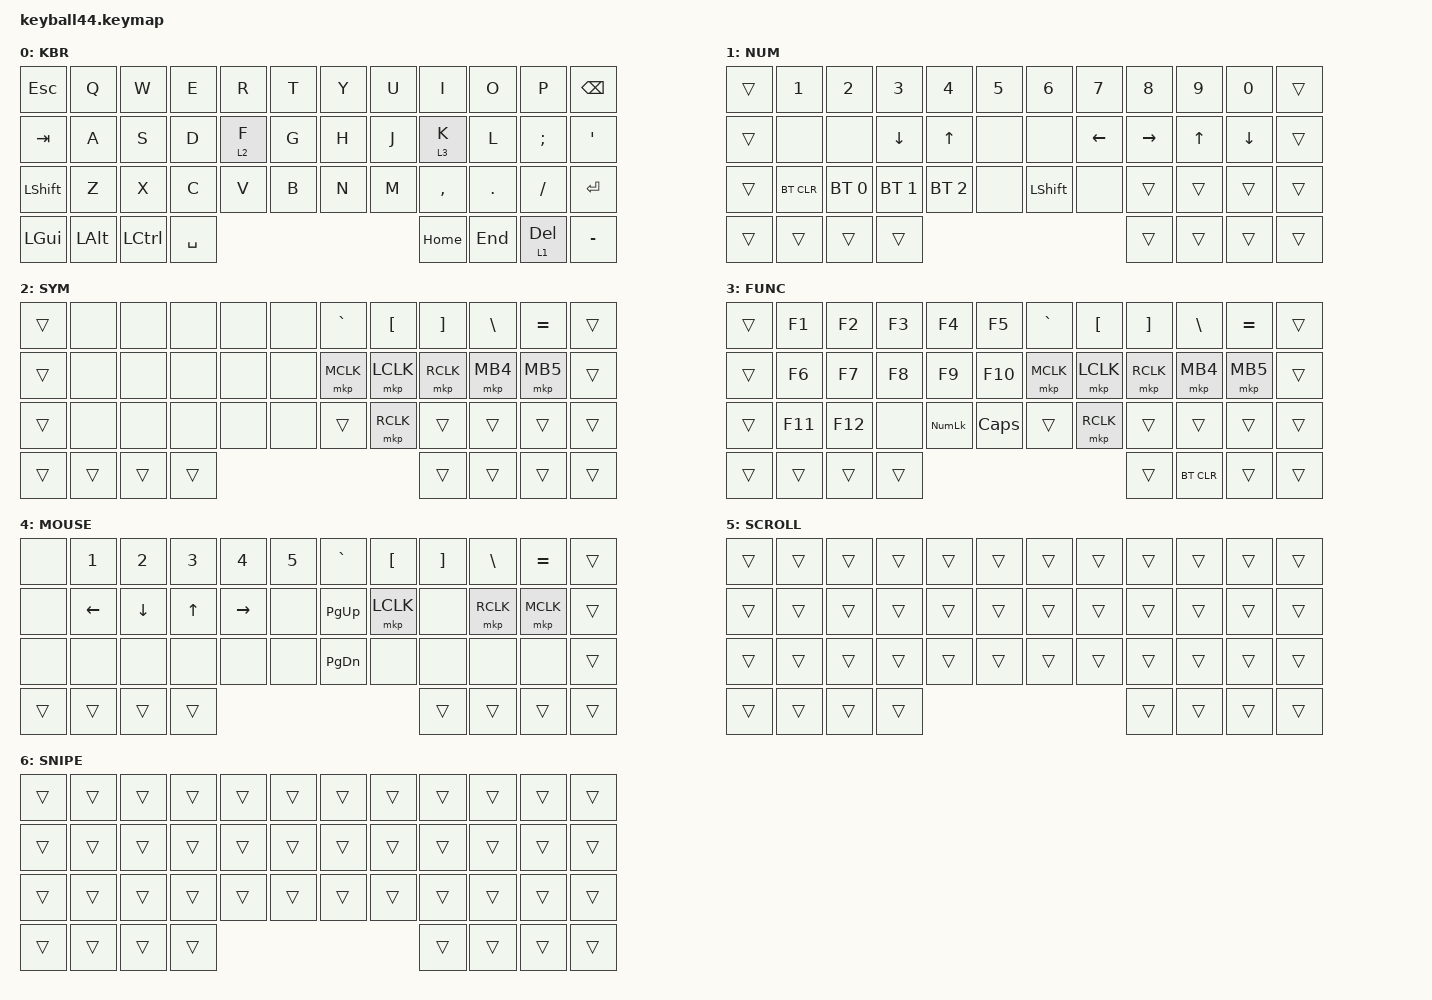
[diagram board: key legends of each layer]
#define DEFAULT 0
#define NUM     1
#define SYM     2
#define FUN     3
#define MOUSE   4
#define SCROLL  5
#define SNIPE   6

#include <behaviors/mouse_keys.dtsi>
#include <behaviors.dtsi>
#include <dt-bindings/zmk/bt.h>
#include <dt-bindings/zmk/keys.h>
#include <dt-bindings/zmk/mouse.h>


&lt {
    tapping-term-ms = <150>;
    flavor = "balanced";
    quick-tap-ms = <150>;
};

&mt {
    tapping-term-ms = <170>;
    flavor = "tap-preferred";
    quick-tap-ms = <150>;
};

&caps_word { continue-list = <UNDERSCORE MINUS>; };

/ {
    // custom shift using mod-morph

    behaviors {
        cmqus: comma_question {
            compatible = "zmk,behavior-mod-morph";
            label = "COMMA_QUESTION";
            #binding-cells = <0>;
            bindings = <&kp COMMA>, <&kp QUESTION>;

            mods = <(MOD_LSFT|MOD_RSFT)>;
        };

        dtsmi: dot_semi {
            compatible = "zmk,behavior-mod-morph";
            label = "DOT_SEMI";
            #binding-cells = <0>;
            bindings = <&kp DOT>, <&kp SEMI>;

            mods = <(MOD_LSFT|MOD_RSFT)>;
        };
    };

    combos {
        compatible = "zmk,combos";
        combo_soft_off {
            timeout-ms = <50>;
            key-positions = <40 41>;
            bindings = <&soft_off>;
        };
    };

    keymap {
        compatible = "zmk,keymap";

        default_layer {
            label = "KBR";
            bindings = <
&kp ESCAPE      &kp Q     &kp W         &kp E        &kp R      &kp T                 &kp Y            &kp U  &kp I      &kp O    &kp P      &kp BACKSPACE
&kp TAB         &kp A     &kp S         &kp D        &lt 2 F    &kp G                 &kp H            &kp J  &lt 3 K    &kp L    &kp SEMI   &kp SQT
&kp LEFT_SHIFT  &kp Z     &kp X         &kp C        &kp V      &kp B                 &kp N            &kp M  &kp COMMA  &kp DOT  &kp SLASH  &kp ENTER
&kp LGUI        &kp LALT  &kp LCTRL    &kp SPACE    &kp HOME                         &kp END          &lt 1 DELETE                          &kp MINUS
            >;
        };

        number_layer {
            label = "NUM";
            bindings = <
&trans   &kp NUMBER_1  &kp NUMBER_2  &kp NUMBER_3  &kp NUMBER_4  &kp NUMBER_5              &kp NUMBER_6  &kp NUMBER_7  &kp NUMBER_8  &kp NUMBER_9  &kp NUMBER_0  &trans
&trans   &none         &none         &kp DOWN      &kp UP        &none                     &none         &kp LEFT      &kp RIGHT     &kp UP        &kp DOWN      &trans
&trans   &bt BT_CLR    &bt BT_SEL 0  &bt BT_SEL 1  &bt BT_SEL 2  &none                     &kp LEFT_SHIFT  &none       &trans        &trans        &trans        &trans
&trans   &trans        &trans        &trans        &trans                          &trans  &trans                                                                &trans
            >;
        };

        symbol_layer {
            label = "SYM";
            bindings = <
&trans   &none        &none        &none        &none           &none              &kp GRAVE  &kp LBKT   &kp RBKT   &kp BSLH  &kp EQUAL &trans
&trans   &none        &none        &none        &none           &none              &mkp MCLK  &mkp LCLK  &mkp RCLK  &mkp MB4  &mkp MB5     &trans
&trans   &none        &none        &none        &none           &none              &trans     &mkp RCLK  &trans     &trans    &trans    &trans
&trans   &trans       &trans       &trans       &trans                             &trans     &trans                                    &trans
            >;
        };

        function_layer {
            label = "FUNC";
            bindings = <
&trans   &kp F1  &kp F2   &kp F3   &kp F4   &kp F5             &kp GRAVE  &kp LBKT   &kp RBKT   &kp BSLH  &kp EQUAL &trans
&trans   &kp F6  &kp F7   &kp F8   &kp F9   &kp F10            &mkp MCLK  &mkp LCLK  &mkp RCLK  &mkp MB4  &mkp MB5  &trans
&trans   &kp F11 &kp F12  &none    &kp KP_NUM &kp CAPS              &trans     &mkp RCLK  &trans     &trans    &trans    &trans
&trans   &trans  &trans   &trans   &trans              &bt BT_CLR &trans                                               &trans
            >;
        };

        mouse_layer {
            label = "MOUSE";
            bindings = <
&none   &kp N1          &kp N2          &kp N3        &kp N4     &kp N5              &kp GRAVE      &kp LBKT   &kp RBKT &kp BSLH  &kp EQUAL  &trans
&none   &kp LEFT_ARROW  &kp DOWN_ARROW  &kp UP_ARROW  &kp RIGHT  &none               &kp PAGE_UP    &mkp LCLK  &none   &mkp RCLK  &mkp MCLK  &trans
&none   &none           &none           &none         &none      &none               &kp PAGE_DOWN  &none      &none   &none      &none      &trans
&trans  &trans          &trans          &trans        &trans                 &trans  &trans                                                  &trans
            >;
        };

        scroll_layer {
            label = "SCROLL";
            bindings = <
&trans  &trans  &trans  &trans  &trans  &trans              &trans  &trans  &trans  &trans  &trans  &trans
&trans  &trans  &trans  &trans  &trans  &trans              &trans  &trans  &trans  &trans  &trans  &trans
&trans  &trans  &trans  &trans  &trans  &trans              &trans  &trans  &trans  &trans  &trans  &trans
&trans  &trans  &trans  &trans  &trans              &trans  &trans                                  &trans
            >;
        };

        snipe_layer {
            label = "SNIPE";
            bindings = <
&trans  &trans  &trans  &trans  &trans  &trans              &trans  &trans  &trans  &trans  &trans  &trans
&trans  &trans  &trans  &trans  &trans  &trans              &trans  &trans  &trans  &trans  &trans  &trans
&trans  &trans  &trans  &trans  &trans  &trans              &trans  &trans  &trans  &trans  &trans  &trans
&trans  &trans  &trans  &trans  &trans              &trans  &trans                                  &trans
            >;
        };
    };
};
